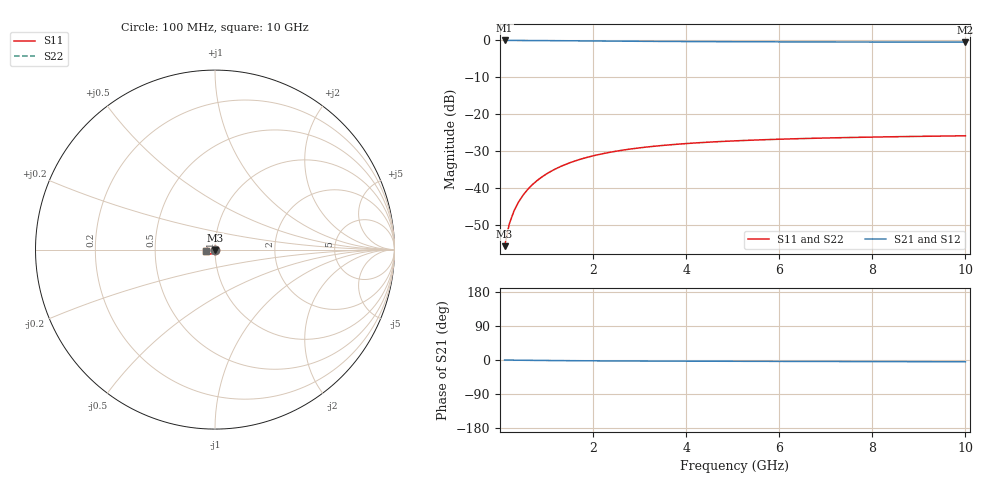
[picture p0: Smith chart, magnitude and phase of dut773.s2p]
! Touchstone file exported from HFSS 2024.1.0
!  File:  C:/UserFiles/LocalFiles/RDL_TSV_Batchsim/temp_TSV1_773_1779873702.aedt
!  Generated:  05:28:30 PM May 27, 2026
!  Design:  TSV1
!  Project:  temp_TSV1_773_1779873702
!  Setup:  Setup1
!  Solution:  Sweep
! Variables:
!  dtsv = 12.58um
!  hbump = 3um
!  htsv = 72.25um
!  lrdl = 252.1521522um
!  p = 40
!  p1 = 52.08um
!  t = 500um
!  trdl = 3um
!  wrdl = 24.89489489um
# GHz S MA R 50.000000
! Terminal data exported
! Port[1] = TSV22_T1
! Port[2] = TSV22_T2
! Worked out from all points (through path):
!   100 points, 100 MHz to 10 GHz, reference 50 ohm
!   highest |S21| = 0.00 dB at 100 MHz (marker M1); lowest = -0.5 dB at 10 GHz (marker M2)
!   lowest |S11| = -55.8 dB at 100 MHz (marker M3), VSWR 1.00, Z = 50 - j0.163 ohm
!   |S11| at or under -10 dB: start of sweep to end of sweep
!   |S22| runs from -55.8 to -25.9 dB; largest |S21 - S12| = 9.4e-15
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0.1  0.001625 -89.0  0.9999 -0.1  0.9999 -0.1  0.001625 -89.0
! Gamma 0 0 0 0
! Port Impedance 50 0 50 0
0.2  0.003246 -92.3  0.9997 -0.3  0.9997 -0.3  0.003246 -92.3
0.3  0.004862 -94.7  0.9994 -0.4  0.9994 -0.4  0.004862 -94.7
0.4  0.006465 -96.9  0.999 -0.5  0.999 -0.5  0.006465 -96.9
0.5  0.008049 -99.0  0.9985 -0.7  0.9985 -0.7  0.008049 -99.0
0.6  0.009608 -101.1  0.9979 -0.8  0.9979 -0.8  0.009608 -101.1
0.7  0.01114 -103.1  0.9972 -0.9  0.9972 -0.9  0.01114 -103.1
0.8  0.01263 -105.0  0.9965 -1.1  0.9965 -1.1  0.01263 -105.0
0.9  0.01409 -106.9  0.9956 -1.2  0.9956 -1.2  0.01409 -106.9
1.1  0.01689 -110.6  0.9938 -1.4  0.9938 -1.4  0.01689 -110.6
1.4  0.02075 -115.7  0.9908 -1.7  0.9908 -1.7  0.02075 -115.7
1.6  0.0231 -119.0  0.9887 -1.9  0.9887 -1.9  0.0231 -119.0
1.8  0.02526 -122.0  0.9865 -2.0  0.9865 -2.0  0.02526 -122.0
2.1  0.02819 -126.2  0.9833 -2.2  0.9833 -2.2  0.02819 -126.2
2.5  0.03154 -131.3  0.9792 -2.5  0.9792 -2.5  0.03154 -131.3
2.9  0.03434 -135.8  0.9754 -2.7  0.9754 -2.7  0.03434 -135.8
3.4  0.03723 -140.7  0.9712 -2.9  0.9712 -2.9  0.03723 -140.7
4.2  0.04077 -147.3  0.9657 -3.1  0.9657 -3.1  0.04077 -147.3
5.1  0.04366 -153.3  0.9609 -3.4  0.9609 -3.4  0.04366 -153.3
6.7  0.0471 -161.6  0.955 -3.8  0.955 -3.8  0.0471 -161.6
8.4  0.04943 -168.4  0.951 -4.3  0.951 -4.3  0.04943 -168.4
10  0.05096 -173.6  0.9484 -4.7  0.9484 -4.7  0.05096 -173.6
